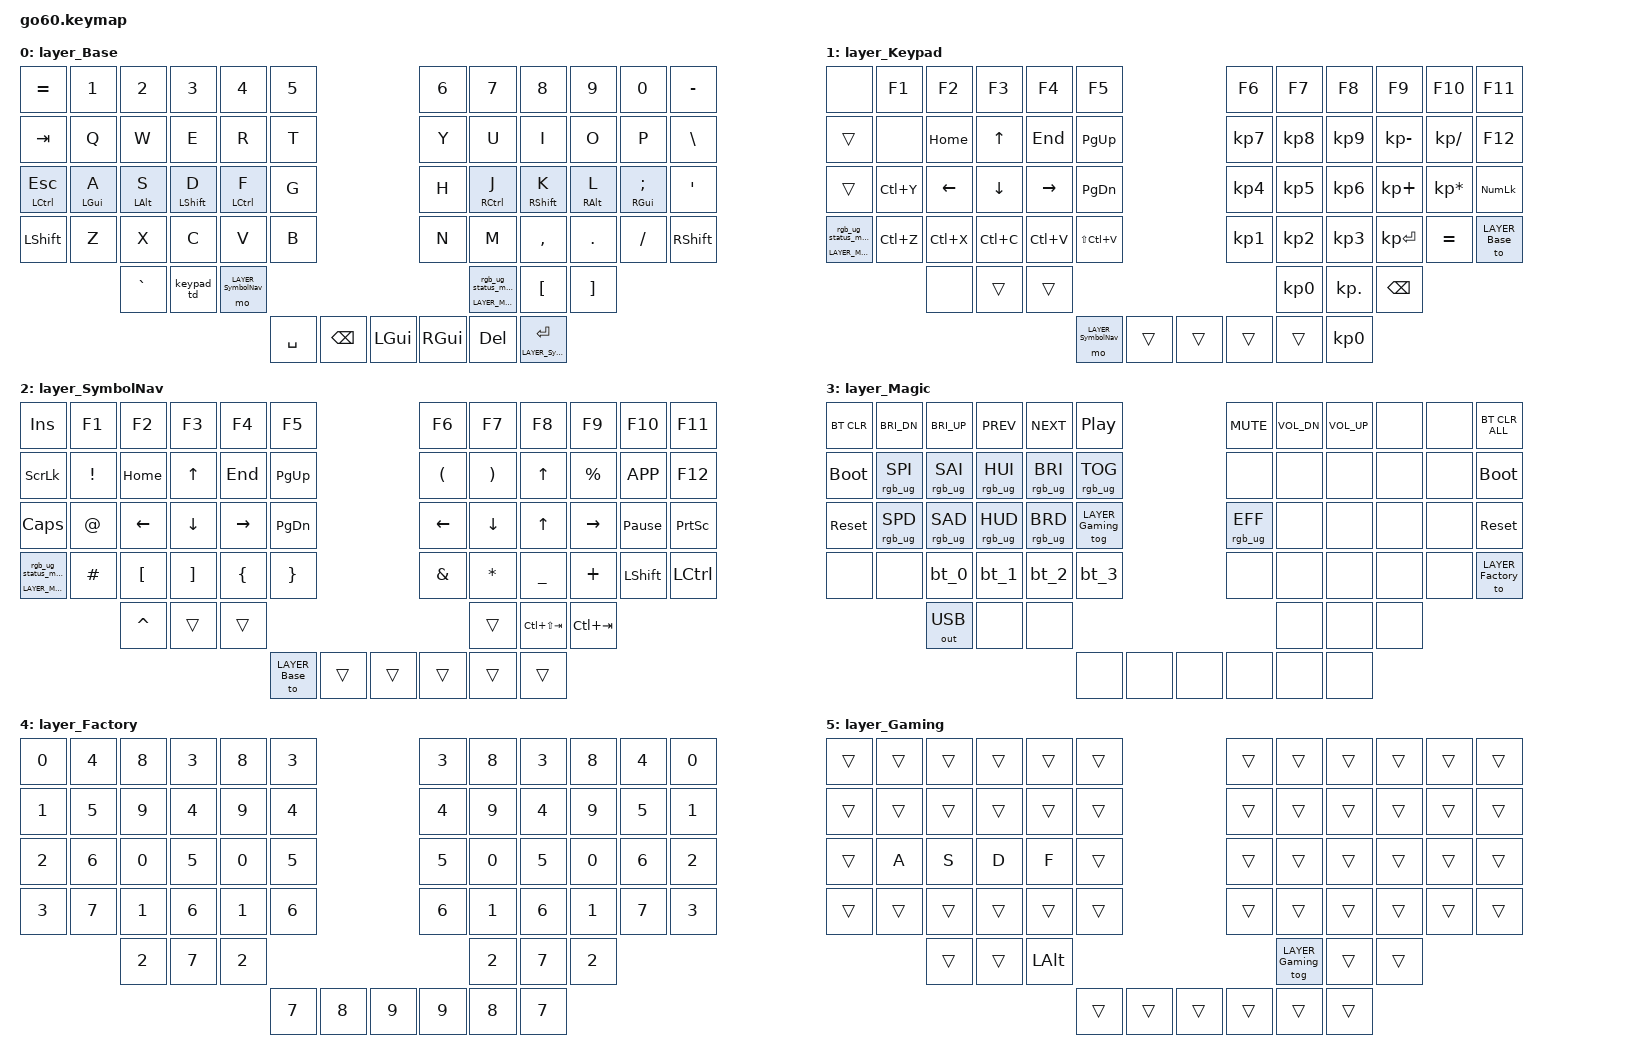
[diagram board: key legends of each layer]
/*
 * Copyright (c) 2020 The ZMK Contributors
 *
 * SPDX-License-Identifier: MIT
 */

#include <behaviors.dtsi>

#include <dt-bindings/zmk/bt.h>
#include <dt-bindings/zmk/ext_power.h>
#include <dt-bindings/zmk/keys.h>
#include <dt-bindings/zmk/outputs.h>
#include <dt-bindings/zmk/rgb.h>
#include <dt-bindings/zmk/input_transform.h>
#include <dt-bindings/zmk/pointing.h>

#include <input/processors.dtsi>
#include <zephyr/dt-bindings/input/input-event-codes.h>

// layers
#define LAYER_Base 0
#define LAYER_Keypad 1
#define LAYER_SymbolNav 2
#define LAYER_Magic 3
#define LAYER_Factory 4
#define LAYER_Gaming 5

/ {
    input_processors {
        zip_click_to_right_click_mapper: zip_click_to_right_click_mapper {
            compatible = "zmk,input-processor-code-mapper";
            #input-processor-cells = <0>;
            type = <INPUT_EV_KEY>;
            map = <INPUT_BTN_0 INPUT_BTN_1>;
        };
    };

    behaviors {
        hml: home_row_mod_left {
            compatible = "zmk,behavior-hold-tap";
            #binding-cells = <2>;
            flavor = "tap-preferred";
            tapping-term-ms = <200>;
            quick-tap-ms = <150>;
            require-prior-idle-ms = <100>;
            bindings = <&kp>, <&kp>;
            hold-trigger-key-positions = <
                6 7 8 9 10 11
                18 19 20 21 22 23
                30 31 32 33 34 35
                42 43 44 45 46 47
                51 52 53
                57 58 59
            >;
            hold-trigger-on-release;
        };

        hmr: home_row_mod_right {
            compatible = "zmk,behavior-hold-tap";
            #binding-cells = <2>;
            flavor = "tap-preferred";
            tapping-term-ms = <200>;
            quick-tap-ms = <150>;
            require-prior-idle-ms = <100>;
            bindings = <&kp>, <&kp>;
            hold-trigger-key-positions = <
                0 1 2 3 4 5
                12 13 14 15 16 17
                24 25 26 27 28 29
                36 37 38 39 40 41
                48 49 50
                54 55 56
            >;
            hold-trigger-on-release;
        };

        magic: magic {
            compatible = "zmk,behavior-hold-tap";
            #binding-cells = <2>;
            flavor = "tap-preferred";
            tapping-term-ms = <200>;
            bindings = <&mo>, <&rgb_ug_status_macro>;
        };

        keypad_td: keypad_td {
            compatible = "zmk,behavior-tap-dance";
            #binding-cells = <0>;
            tapping-term-ms = <200>;
            bindings = <&mo LAYER_Keypad>, <&to LAYER_Keypad>;
        };

        symbol_nav_td: symbol_nav_td {
            compatible = "zmk,behavior-tap-dance";
            #binding-cells = <0>;
            tapping-term-ms = <200>;
            bindings = <&mo LAYER_SymbolNav>, <&to LAYER_SymbolNav>;
        };

        bt_0: bt_0 {
            compatible = "zmk,behavior-tap-dance";
            #binding-cells = <0>;
            tapping-term-ms = <200>;
            bindings = <&bt_select_0>, <&bt BT_DISC 0>;
        };
        bt_1: bt_1 {
            compatible = "zmk,behavior-tap-dance";
            #binding-cells = <0>;
            tapping-term-ms = <200>;
            bindings = <&bt_select_1>, <&bt BT_DISC 1>;
        };
        bt_2: bt_2 {
            compatible = "zmk,behavior-tap-dance";
            #binding-cells = <0>;
            tapping-term-ms = <200>;
            bindings = <&bt_select_2>, <&bt BT_DISC 2>;
        };
        bt_3: bt_3 {
            compatible = "zmk,behavior-tap-dance";
            #binding-cells = <0>;
            tapping-term-ms = <200>;
            bindings = <&bt_select_3>, <&bt BT_DISC 3>;
        };
    };

    macros {
        rgb_ug_status_macro: rgb_ug_status_macro {
            compatible = "zmk,behavior-macro";
            #binding-cells = <0>;
            bindings = <&rgb_ug RGB_STATUS>;
        };

        bt_select_0: bt_select_0 {
            compatible = "zmk,behavior-macro";
            #binding-cells = <0>;
            bindings
                = <&out OUT_BLE>,
                  <&bt BT_SEL 0>;
        };
        bt_select_1: bt_select_1 {
            compatible = "zmk,behavior-macro";
            #binding-cells = <0>;
            bindings
                = <&out OUT_BLE>,
                  <&bt BT_SEL 1>;
        };
        bt_select_2: bt_select_2 {
            compatible = "zmk,behavior-macro";
            #binding-cells = <0>;
            bindings
                = <&out OUT_BLE>,
                  <&bt BT_SEL 2>;
        };
        bt_select_3: bt_select_3 {
            compatible = "zmk,behavior-macro";
            #binding-cells = <0>;
            bindings
                = <&out OUT_BLE>,
                  <&bt BT_SEL 3>;
        };
    };

    keymap {
        compatible = "zmk,keymap";
        layer_Base {
            bindings = <
            &kp EQUAL  &kp N1     &kp N2   &kp N3    &kp N4  &kp N5                                                      &kp N6    &kp N7     &kp N8    &kp N9    &kp N0           &kp MINUS
              &kp TAB   &kp Q      &kp W    &kp E     &kp R   &kp T                                                       &kp Y     &kp U      &kp I     &kp O     &kp P            &kp BSLH
         &mt LCTRL ESC   &hml LGUI A  &hml LALT S  &hml LSHFT D  &hml LCTRL F   &kp G                                    &kp H  &hmr RCTRL J  &hmr RSHFT K  &hmr RALT L  &hmr RGUI SEMI  &kp SQT
           &kp LSHFT   &kp Z      &kp X    &kp C     &kp V   &kp B                                                       &kp N     &kp M  &kp COMMA   &kp DOT  &kp FSLH          &kp RSHFT
                               &kp GRAVE  &keypad_td  &mo LAYER_SymbolNav                                           &magic LAYER_Magic 0  &kp LBKT  &kp RBKT
                                                     &kp SPACE  &kp BSPC  &kp LGUI     &kp RGUI  &kp DEL  &lt LAYER_SymbolNav RET
            >;
        };

        layer_Keypad {
            bindings = <
                &none     &kp F1     &kp F2     &kp F3     &kp F4         &kp F5                                                 &kp F6     &kp F7      &kp F8        &kp F9          &kp F10        &kp F11
               &trans      &none   &kp HOME     &kp UP    &kp END      &kp PG_UP                                              &kp KP_N7  &kp KP_N8   &kp KP_N9  &kp KP_MINUS     &kp KP_SLASH        &kp F12
               &trans  &kp LC(Y)   &kp LEFT   &kp DOWN  &kp RIGHT      &kp PG_DN                                              &kp KP_N4  &kp KP_N5   &kp KP_N6   &kp KP_PLUS  &kp KP_MULTIPLY     &kp KP_NUM
 &magic LAYER_Magic 0  &kp LC(Z)  &kp LC(X)  &kp LC(C)  &kp LC(V)  &kp LS(LC(V))                                              &kp KP_N1  &kp KP_N2   &kp KP_N3  &kp KP_ENTER        &kp EQUAL &to LAYER_Base
                                      &none     &trans     &trans                                                                        &kp KP_N0  &kp KP_DOT      &kp BSPC
                                                             &mo LAYER_SymbolNav  &trans  &trans              &trans  &trans  &kp KP_N0
            >;
        };

        layer_SymbolNav {
            bindings = <
              &kp INS    &kp F1     &kp F2    &kp F3     &kp F4     &kp F5                                       &kp F6    &kp F7           &kp F8       &kp F9          &kp F10    &kp F11
             &kp SLCK  &kp EXCL   &kp HOME    &kp UP    &kp END  &kp PG_UP                                     &kp LPAR  &kp RPAR           &kp UP    &kp PRCNT        &kp K_APP    &kp F12
             &kp CAPS    &kp AT   &kp LEFT  &kp DOWN  &kp RIGHT  &kp PG_DN                                     &kp LEFT  &kp DOWN           &kp UP    &kp RIGHT  &kp PAUSE_BREAK  &kp PSCRN
 &magic LAYER_Magic 0  &kp HASH   &kp LBKT  &kp RBKT   &kp LBRC   &kp RBRC                                     &kp AMPS  &kp STAR        &kp UNDER     &kp PLUS        &kp LSHFT  &kp LCTRL
                                 &kp CARET    &trans     &trans                                                            &trans  &kp LC(LS(TAB))  &kp LC(TAB)
                                                            &to LAYER_Base  &trans  &trans       &trans  &trans  &trans
            >;
        };

        layer_Magic {
            bindings = <
  &bt BT_CLR     &kp C_BRI_DN     &kp C_BRI_UP       &kp C_PREV       &kp C_NEXT         &kp C_PP                                &kp C_MUTE  &kp C_VOL_DN  &kp C_VOL_UP   &none   &none    &bt BT_CLR_ALL
 &bootloader  &rgb_ug RGB_SPI  &rgb_ug RGB_SAI  &rgb_ug RGB_HUI  &rgb_ug RGB_BRI  &rgb_ug RGB_TOG                                     &none         &none         &none   &none   &none       &bootloader
  &sys_reset  &rgb_ug RGB_SPD  &rgb_ug RGB_SAD  &rgb_ug RGB_HUD  &rgb_ug RGB_BRD  &tog LAYER_Gaming                          &rgb_ug RGB_EFF         &none         &none   &none   &none        &sys_reset
       &none            &none            &bt_0            &bt_1            &bt_2            &bt_3                                     &none         &none         &none   &none   &none &to LAYER_Factory
                                  &out OUT_USB            &none            &none                                                                    &none         &none   &none
                                                                                            &none   &none   &none     &none   &none   &none
            >;
        };

        layer_Factory {
            bindings = <
 &kp N0  &kp N4  &kp N8  &kp N3  &kp N8  &kp N3                                       &kp N3  &kp N8  &kp N3  &kp N8  &kp N4  &kp N0
 &kp N1  &kp N5  &kp N9  &kp N4  &kp N9  &kp N4                                       &kp N4  &kp N9  &kp N4  &kp N9  &kp N5  &kp N1
 &kp N2  &kp N6  &kp N0  &kp N5  &kp N0  &kp N5                                       &kp N5  &kp N0  &kp N5  &kp N0  &kp N6  &kp N2
 &kp N3  &kp N7  &kp N1  &kp N6  &kp N1  &kp N6                                       &kp N6  &kp N1  &kp N6  &kp N1  &kp N7  &kp N3
                 &kp N2  &kp N7  &kp N2                                                       &kp N2  &kp N7  &kp N2
                                          &kp N7  &kp N8  &kp N9      &kp N9  &kp N8  &kp N7
            >;
        };

        layer_Gaming {
            bindings = <
 &trans  &trans  &trans  &trans  &trans  &trans                                      &trans  &trans  &trans  &trans  &trans  &trans
 &trans  &trans  &trans  &trans  &trans  &trans                                      &trans  &trans  &trans  &trans  &trans  &trans
 &trans  &kp A   &kp S   &kp D   &kp F   &trans                                      &trans  &trans  &trans  &trans  &trans  &trans
 &trans  &trans  &trans  &trans  &trans  &trans                                      &trans  &trans  &trans  &trans  &trans  &trans
                 &trans  &trans  &kp LALT                                                    &tog LAYER_Gaming  &trans  &trans
                                         &trans  &trans  &trans      &trans  &trans  &trans
            >;
        };
    };
};

&cirque_rh_listener {
    input-processors = <&zip_xy_scaler 3 1>;
    layer_2 {
        layers = <2>;
        input-processors = <&zip_xy_scaler 9 1>;
    };
};

&cirque_lh_listener {
    input-processors = <&zip_xy_to_scroll_mapper>, <&zip_xy_scaler 1 32>, <&zip_click_to_right_click_mapper>;
    layer_4 {
        layers = <4>;
        input-processors = <&zip_xy_scaler 3 1>;
    };
};
